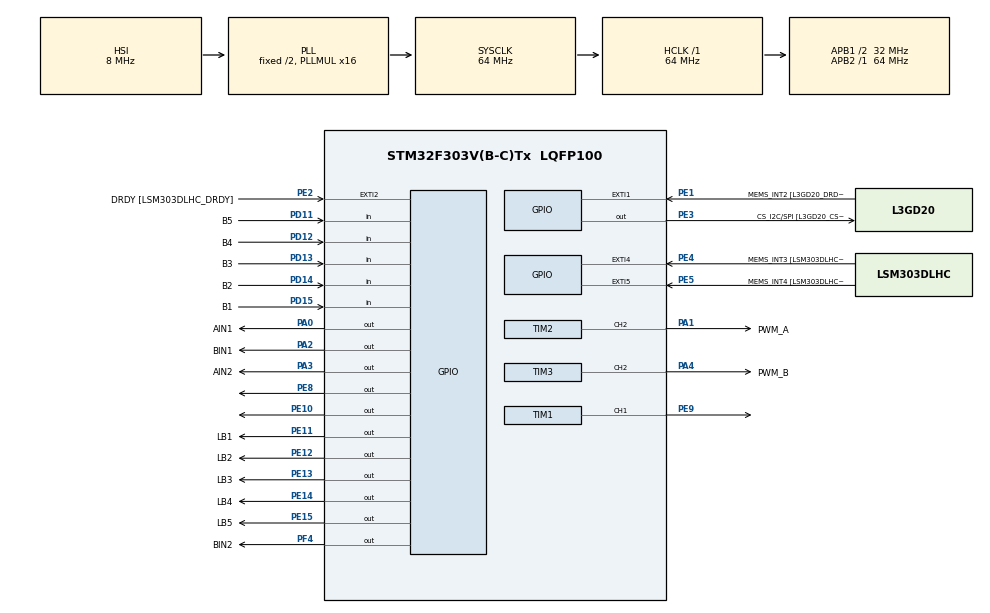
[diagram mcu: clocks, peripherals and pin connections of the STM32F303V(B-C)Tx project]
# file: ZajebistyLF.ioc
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Mcu.Family=STM32F3
Mcu.Name=STM32F303V(B-C)Tx
Mcu.Package=LQFP100
NVIC.PriorityGroup=NVIC_PRIORITYGROUP_0
PA0.GPIO_Label=AIN1
PA0.Signal=GPIO_Output
PA1.GPIO_Label=PWM_A
PA1.Signal=S_TIM2_CH2
PA11.GPIO_Label=DM
PA11.Signal=USB_DM
PA12.GPIO_Label=DP
PA12.Signal=USB_DP
PA13.GPIO_Label=SWDIO
PA13.Signal=SYS_JTMS-SWDIO
PA14.GPIO_Label=SWCLK
PA14.Signal=SYS_JTCK-SWCLK
PA2.GPIO_Label=BIN1
PA2.Signal=GPIO_Output
PA3.GPIO_Label=AIN2
PA3.Signal=GPIO_Output
PA4.GPIO_Label=PWM_B
PA4.Signal=S_TIM3_CH2
PA5.GPIO_Label=SPI1_SCK [L3GD20_SCL/SPC]
PA5.GPIO_Mode=GPIO_MODE_AF_PP
PA5.GPIO_PuPd=GPIO_NOPULL
PA5.GPIO_Speed=GPIO_SPEED_FREQ_LOW
PA5.Signal=SPI1_SCK
PA6.GPIO_Label=SPI1_MISO [L3GD20_SA0/SDO]
PA6.GPIO_Mode=GPIO_MODE_AF_PP
PA6.GPIO_PuPd=GPIO_NOPULL
PA6.GPIO_Speed=GPIO_SPEED_FREQ_LOW
PA6.Signal=SPI1_MISO
PA7.GPIO_Label=SPI1_MISO [L3GD20_SDA/SDI/SDO]
PA7.GPIO_Mode=GPIO_MODE_AF_PP
PA7.GPIO_PuPd=GPIO_NOPULL
PA7.GPIO_Speed=GPIO_SPEED_FREQ_LOW
PA7.Signal=SPI1_MOSI
PB3.GPIO_Label=SWO
PB3.Signal=SYS_JTDO-TRACESWO
PB6.GPIO_FM6=__NULL
PB6.GPIO_Label=I2C1_SCL [LSM303DLHC_SCL]
PB6.GPIO_Mode=GPIO_MODE_AF_OD
PB6.GPIO_PuPd=GPIO_NOPULL
PB6.GPIO_Speed=GPIO_SPEED_FREQ_LOW
PB6.Signal=I2C1_SCL
PB7.GPIO_FM7=__NULL
PB7.GPIO_Label=I2C1_SDA [LSM303DLHC_SDA]
PB7.GPIO_Mode=GPIO_MODE_AF_OD
PB7.GPIO_PuPd=GPIO_NOPULL
PB7.GPIO_Speed=GPIO_SPEED_FREQ_LOW
PB7.Signal=I2C1_SDA
PC14-OSC32_IN.GPIO_Label=OSC32_IN
PC14-OSC32_IN.Signal=RCC_OSC32_IN
PC15-OSC32_OUT.GPIO_Label=OSC32_OUT
PC15-OSC32_OUT.Signal=RCC_OSC32_OUT
PD11.GPIO_Label=B5
PD11.Signal=GPIO_Input
PD12.GPIO_Label=B4
PD12.Signal=GPIO_Input
PD13.GPIO_Label=B3
PD13.Signal=GPIO_Input
PD14.GPIO_Label=B2
PD14.Signal=GPIO_Input
PD15.GPIO_Label=B1
PD15.Signal=GPIO_Input
PE1.GPIO_Label=MEMS_INT2 [L3GD20_DRDY/INT2]
PE1.GPIO_ModeDefaultEXTI=GPIO_MODE_EVT_RISING
PE1.GPIO_PuPd=GPIO_NOPULL
PE1.Signal=GPXTI1
PE10.Signal=GPIO_Output
PE11.GPIO_Label=LB1
PE11.Signal=GPIO_Output
PE12.GPIO_Label=LB2
PE12.Signal=GPIO_Output
PE13.GPIO_Label=LB3
PE13.GPIO_ModeDefaultOutputPP=GPIO_MODE_OUTPUT_PP
PE13.GPIO_PuPd=GPIO_NOPULL
PE13.GPIO_Speed=GPIO_SPEED_FREQ_LOW
PE13.Signal=GPIO_Output
PE14.GPIO_Label=LB4
PE14.GPIO_ModeDefaultOutputPP=GPIO_MODE_OUTPUT_PP
PE14.GPIO_PuPd=GPIO_NOPULL
PE14.GPIO_Speed=GPIO_SPEED_FREQ_LOW
PE14.Signal=GPIO_Output
PE15.GPIO_Label=LB5
PE15.GPIO_ModeDefaultOutputPP=GPIO_MODE_OUTPUT_PP
PE15.GPIO_PuPd=GPIO_NOPULL
PE15.GPIO_Speed=GPIO_SPEED_FREQ_LOW
PE15.Signal=GPIO_Output
PE2.GPIO_Label=DRDY [LSM303DLHC_DRDY]
PE2.GPIO_ModeDefaultEXTI=GPIO_MODE_EVT_RISING
PE2.GPIO_PuPd=GPIO_NOPULL
PE2.Signal=GPXTI2
PE3.GPIO_Label=CS_I2C/SPI [L3GD20_CS_I2C/SPI]
PE3.GPIO_ModeDefaultOutputPP=GPIO_MODE_OUTPUT_PP
PE3.GPIO_PuPd=GPIO_NOPULL
PE3.GPIO_Speed=GPIO_SPEED_FREQ_LOW
PE3.Signal=GPIO_Output
PE4.GPIO_Label=MEMS_INT3 [LSM303DLHC_INT1]
PE4.GPIO_ModeDefaultEXTI=GPIO_MODE_EVT_RISING
PE4.GPIO_PuPd=GPIO_NOPULL
PE4.Signal=GPXTI4
PE5.GPIO_Label=MEMS_INT4 [LSM303DLHC_INT2]
PE5.GPIO_ModeDefaultEXTI=GPIO_MODE_EVT_RISING
PE5.GPIO_PuPd=GPIO_NOPULL
PE5.Signal=GPXTI5
PE8.Signal=GPIO_Output
PE9.Signal=S_TIM1_CH1
PF0-OSC_IN.GPIO_Label=OSC_IN
PF0-OSC_IN.Signal=RCC_OSC_IN
PF1-OSC_OUT.GPIO_Label=OSC_OUT
PF1-OSC_OUT.Signal=RCC_OSC_OUT
PF4.GPIO_Label=BIN2
PF4.Signal=GPIO_Output
ProjectManager.HeapSize=0x200
ProjectManager.StackSize=0x400
ProjectManager.TargetToolchain=SW4STM32
RCC.AHBFreq_Value=64000000
RCC.APB1CLKDivider=RCC_HCLK_DIV2
RCC.APB1Freq_Value=32000000
RCC.APB1TimFreq_Value=64000000
RCC.APB2Freq_Value=64000000
RCC.APB2TimFreq_Value=64000000
RCC.CortexFreq_Value=64000000
RCC.HCLKFreq_Value=64000000
RCC.HSE_VALUE=8000000
RCC.HSI_VALUE=8000000
RCC.LSE_VALUE=32768
RCC.PLLMUL=RCC_PLL_MUL16
RCC.SYSCLKFreq_VALUE=64000000
RCC.SYSCLKSourceVirtual=RCC_SYSCLKSOURCE_PLLCLK
RCC.USBFreq_Value=64000000
SH.S_TIM1_CH1.0=TIM1_CH1,PWM Generation1 CH1
SH.S_TIM2_CH2.0=TIM2_CH2,PWM Generation2 CH2
SH.S_TIM3_CH2.0=TIM3_CH2,PWM Generation2 CH2
TIM1.Channel-PWM\ Generation1\ CH1=TIM_CHANNEL_1
TIM1.Period=99
TIM1.Prescaler=3199
TIM2.Channel-PWM\ Generation2\ CH2=TIM_CHANNEL_2
TIM2.Period=99
TIM2.Prescaler=3199
TIM3.Channel-PWM\ Generation2\ CH2=TIM_CHANNEL_2
TIM3.Period=99
TIM3.Prescaler=3199
board=STM32F3DISCOVERY

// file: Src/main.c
/* USER CODE BEGIN Header */
/**
  ******************************************************************************
  * @file           : main.c
  * @brief          : Main program body
  ******************************************************************************
  ** This notice applies to any and all portions of this file
  * that are not between comment pairs USER CODE BEGIN and
  * USER CODE END. Other portions of this file, whether
  * inserted by the user or by software development tools
  * are owned by their respective copyright owners.
  *
  * COPYRIGHT(c) 2019 STMicroelectronics
  *
  * Redistribution and use in source and binary forms, with or without modification,
  * are permitted provided that the following conditions are met:
  *   1. Redistributions of source code must retain the above copyright notice,
  *      this list of conditions and the following disclaimer.
  *   2. Redistributions in binary form must reproduce the above copyright notice,
  *      this list of conditions and the following disclaimer in the documentation
  *      and/or other materials provided with the distribution.
  *   3. Neither the name of STMicroelectronics nor the names of its contributors
  *      may be used to endorse or promote products derived from this software
  *      without specific prior written permission.
  *
  * THIS SOFTWARE IS PROVIDED BY THE COPYRIGHT HOLDERS AND CONTRIBUTORS "AS IS"
  * AND ANY EXPRESS OR IMPLIED WARRANTIES, INCLUDING, BUT NOT LIMITED TO, THE
  * IMPLIED WARRANTIES OF MERCHANTABILITY AND FITNESS FOR A PARTICULAR PURPOSE ARE
  * DISCLAIMED. IN NO EVENT SHALL THE COPYRIGHT HOLDER OR CONTRIBUTORS BE LIABLE
  * FOR ANY DIRECT, INDIRECT, INCIDENTAL, SPECIAL, EXEMPLARY, OR CONSEQUENTIAL
  * DAMAGES (INCLUDING, BUT NOT LIMITED TO, PROCUREMENT OF SUBSTITUTE GOODS OR
  * SERVICES; LOSS OF USE, DATA, OR PROFITS; OR BUSINESS INTERRUPTION) HOWEVER
  * CAUSED AND ON ANY THEORY OF LIABILITY, WHETHER IN CONTRACT, STRICT LIABILITY,
  * OR TORT (INCLUDING NEGLIGENCE OR OTHERWISE) ARISING IN ANY WAY OUT OF THE USE
  * OF THIS SOFTWARE, EVEN IF ADVISED OF THE POSSIBILITY OF SUCH DAMAGE.
  *
  ******************************************************************************
  */
/* USER CODE END Header */

#include "main.h"

/* USER CODE BEGIN Includes */
float Kierunek;
float B1;
float Wariator;
float Dzielnik;
float CunterB;
float PWMP;
float PWML;
float Inwersja;
float BT;
float Ilosc_cykli;
float D;
float I;
float Przyspieszenie;

/* USER CODE END Includes */

TIM_HandleTypeDef htim1;
TIM_HandleTypeDef htim2;
TIM_HandleTypeDef htim3;

void SystemClock_Config(void);
static void MX_GPIO_Init(void);
static void MX_TIM3_Init(void);
static void MX_TIM2_Init(void);
static void MX_TIM1_Init(void);

int main(void)
{

  /* MCU Configuration--------------------------------------------------------*/

  /* Reset of all peripherals, Initializes the Flash interface and the Systick. */
  HAL_Init();

  /* Configure the system clock */
  SystemClock_Config();

  /* Initialize all configured peripherals */
  MX_GPIO_Init();
  MX_TIM3_Init();
  MX_TIM2_Init();
  MX_TIM1_Init();
  /* USER CODE BEGIN 2 */
  HAL_TIM_PWM_Start(&htim2, TIM_CHANNEL_2);
  HAL_TIM_PWM_Start(&htim3, TIM_CHANNEL_2);
  Wariator = 13.5;
  I = 3000;
  D = 18000;
  Dzielnik = 1.5;
  /* USER CODE END 2 */

  /* Infinite loop */
  /* USER CODE BEGIN WHILE */
  HAL_Delay(2000);
  while (1)
  {

	  if(BT==B1){
		  ++Ilosc_cykli;
	  }else if(B1 > 0){
		  Przyspieszenie = (B1-BT)*-D/Ilosc_cykli;
		  if(Przyspieszenie > 0){
			  Przyspieszenie = Przyspieszenie/3;
		  }
		  Ilosc_cykli = 0;
	  }else if(B1 < 0){
		  Przyspieszenie = (BT-B1)*D/Ilosc_cykli;
		  if(Przyspieszenie < 0){
			  Przyspieszenie = Przyspieszenie/3;
		  }
		  Ilosc_cykli = 0;
	  }
	  //Przyspieszenie = Ilosc_cykli/I;
	  BT = B1;
	  B1 = 0;
	  CunterB = 0;

	  /*if(HAL_GPIO_ReadPin(B1_GPIO_Port, B1_Pin) == GPIO_PIN_SET){
		  HAL_GPIO_WritePin(LB1_GPIO_Port, LB1_Pin, GPIO_PIN_SET);
		  B1 += Wariator * (Wariator/5);
		  ++CunterB;
	  }else{
		  HAL_GPIO_WritePin(LB1_GPIO_Port, LB1_Pin, GPIO_PIN_RESET);

	  }*/
	  if(HAL_GPIO_ReadPin(B5_GPIO_Port, B5_Pin) == GPIO_PIN_SET){
		  HAL_GPIO_WritePin(LB5_GPIO_Port, LB5_Pin, GPIO_PIN_SET);
		  B1 += -Wariator * (Wariator/5);
		  ++CunterB;
	  }else{
		  HAL_GPIO_WritePin(LB5_GPIO_Port, LB5_Pin, GPIO_PIN_RESET);

	  }if(HAL_GPIO_ReadPin(B2_GPIO_Port, B2_Pin) == GPIO_PIN_SET){
		  HAL_GPIO_WritePin(LB2_GPIO_Port, LB2_Pin, GPIO_PIN_SET);
		  B1 += Wariator;
		  ++CunterB;
	  }else{
		  HAL_GPIO_WritePin(LB2_GPIO_Port, LB2_Pin, GPIO_PIN_RESET);

	  }if(HAL_GPIO_ReadPin(B4_GPIO_Port, B4_Pin) == GPIO_PIN_SET){
		  HAL_GPIO_WritePin(LB4_GPIO_Port, LB4_Pin, GPIO_PIN_SET);
		  B1 += -Wariator;
		  ++CunterB;
	  }else{
		  HAL_GPIO_WritePin(LB4_GPIO_Port, LB4_Pin, GPIO_PIN_RESET);

	  }if(HAL_GPIO_ReadPin(B3_GPIO_Port, B3_Pin) == GPIO_PIN_SET){
		  HAL_GPIO_WritePin(LB3_GPIO_Port, LB3_Pin, GPIO_PIN_SET);
		  ++CunterB;
	  }else{
		  HAL_GPIO_WritePin(LB3_GPIO_Port, LB3_Pin, GPIO_PIN_RESET);
	  }
	  if (CunterB == 0){
		  if (BT < 0){
			  B1 += -Wariator * (Wariator/2);
			  HAL_GPIO_WritePin(GPIOE, GPIO_PIN_8, GPIO_PIN_SET);
			  ++CunterB;
		  }if (BT > 0){
			  B1 += Wariator * (Wariator/2);
			  HAL_GPIO_WritePin(GPIOE, GPIO_PIN_10, GPIO_PIN_SET);
			  ++CunterB;
		  }
	  }else{
		  HAL_GPIO_WritePin(GPIOE, GPIO_PIN_10, GPIO_PIN_RESET);
		  HAL_GPIO_WritePin(GPIOE, GPIO_PIN_8, GPIO_PIN_RESET);
	  }

	  Kierunek = 200 - B1/CunterB+Przyspieszenie;

	  if(Kierunek < 200){
		  if(Kierunek < 100){
			  if(Kierunek < 0){
				  PWML = 90;
				  PWMP = 100;
				  Inwersja = 1;
			  }else{
				  PWML = 100 - Kierunek;
				  PWMP = 100;
				  Inwersja = 1;
			  }
		  }else{
			  PWML = Kierunek - 100;
			  PWMP = 100;
			  Inwersja = 0;
		  }
	  }else if(Kierunek > 200){
		  if(Kierunek > 300){
			  if(Kierunek > 400){
				  PWMP = 19;
				  PWML = 100;
				  Inwersja = 2;
			  }else{
				  PWMP = Kierunek - 300;
				  PWML = 100;
				  Inwersja = 2;
			  }
		  }else{
			  PWMP = 300 - Kierunek;
			  PWML = 100;
			  Inwersja = 0;
		  }
	  }else if(Kierunek == 200){
		  PWMP = 100;
		  PWML = 100;
		  Inwersja = 0;
	  }
	  if(Inwersja == 0){
		  HAL_GPIO_WritePin(AIN1_GPIO_Port, AIN1_Pin, GPIO_PIN_RESET);
		  HAL_GPIO_WritePin(AIN2_GPIO_Port, AIN2_Pin, GPIO_PIN_SET);
		  HAL_GPIO_WritePin(BIN1_GPIO_Port, BIN1_Pin, GPIO_PIN_RESET);
		  HAL_GPIO_WritePin(BIN2_GPIO_Port, BIN2_Pin, GPIO_PIN_SET);
	  }else if(Inwersja == 2){
		  HAL_GPIO_WritePin(AIN1_GPIO_Port, AIN1_Pin, GPIO_PIN_SET);
		  HAL_GPIO_WritePin(AIN2_GPIO_Port, AIN2_Pin, GPIO_PIN_RESET);
		  HAL_GPIO_WritePin(BIN1_GPIO_Port, BIN1_Pin, GPIO_PIN_RESET);
		  HAL_GPIO_WritePin(BIN2_GPIO_Port, BIN2_Pin, GPIO_PIN_SET);
	  }else	if(Inwersja == 1){
		  HAL_GPIO_WritePin(AIN1_GPIO_Port, AIN1_Pin, GPIO_PIN_RESET);
		  HAL_GPIO_WritePin(AIN2_GPIO_Port, AIN2_Pin, GPIO_PIN_SET);
		  HAL_GPIO_WritePin(BIN1_GPIO_Port, BIN1_Pin, GPIO_PIN_SET);
		  HAL_GPIO_WritePin(BIN2_GPIO_Port, BIN2_Pin, GPIO_PIN_RESET);
	  }

	  TIM2->CCR2 = PWMP/Dzielnik;
	  TIM3->CCR2 = PWML/Dzielnik;
    /* USER CODE END WHILE */

  }
}

void SystemClock_Config(void)
{
  RCC_OscInitTypeDef RCC_OscInitStruct = {0};
  RCC_ClkInitTypeDef RCC_ClkInitStruct = {0};
  RCC_PeriphCLKInitTypeDef PeriphClkInit = {0};

  /**Initializes the CPU, AHB and APB busses clocks
  */
  RCC_OscInitStruct.OscillatorType = RCC_OSCILLATORTYPE_HSI;
  RCC_OscInitStruct.HSIState = RCC_HSI_ON;
  RCC_OscInitStruct.HSICalibrationValue = RCC_HSICALIBRATION_DEFAULT;
  RCC_OscInitStruct.PLL.PLLState = RCC_PLL_ON;
  RCC_OscInitStruct.PLL.PLLSource = RCC_PLLSOURCE_HSI;
  RCC_OscInitStruct.PLL.PLLMUL = RCC_PLL_MUL16;
  if (HAL_RCC_OscConfig(&RCC_OscInitStruct) != HAL_OK)
  {
    Error_Handler();
  }
  /**Initializes the CPU, AHB and APB busses clocks
  */
  RCC_ClkInitStruct.ClockType = RCC_CLOCKTYPE_HCLK|RCC_CLOCKTYPE_SYSCLK
                              |RCC_CLOCKTYPE_PCLK1|RCC_CLOCKTYPE_PCLK2;
  RCC_ClkInitStruct.SYSCLKSource = RCC_SYSCLKSOURCE_PLLCLK;
  RCC_ClkInitStruct.AHBCLKDivider = RCC_SYSCLK_DIV1;
  RCC_ClkInitStruct.APB1CLKDivider = RCC_HCLK_DIV2;
  RCC_ClkInitStruct.APB2CLKDivider = RCC_HCLK_DIV1;

  if (HAL_RCC_ClockConfig(&RCC_ClkInitStruct, FLASH_LATENCY_2) != HAL_OK)
  {
    Error_Handler();
  }
  PeriphClkInit.PeriphClockSelection = RCC_PERIPHCLK_TIM1;
  PeriphClkInit.Tim1ClockSelection = RCC_TIM1CLK_HCLK;
  if (HAL_RCCEx_PeriphCLKConfig(&PeriphClkInit) != HAL_OK)
  {
    Error_Handler();
  }
}

static void MX_TIM1_Init(void)
{

  TIM_MasterConfigTypeDef sMasterConfig = {0};
  TIM_OC_InitTypeDef sConfigOC = {0};
  TIM_BreakDeadTimeConfigTypeDef sBreakDeadTimeConfig = {0};

  htim1.Instance = TIM1;
  htim1.Init.Prescaler = 3199;
  htim1.Init.CounterMode = TIM_COUNTERMODE_UP;
  htim1.Init.Period = 99;
  htim1.Init.ClockDivision = TIM_CLOCKDIVISION_DIV1;
  htim1.Init.RepetitionCounter = 0;
  htim1.Init.AutoReloadPreload = TIM_AUTORELOAD_PRELOAD_DISABLE;
  if (HAL_TIM_PWM_Init(&htim1) != HAL_OK)
  {
    Error_Handler();
  }
  sMasterConfig.MasterOutputTrigger = TIM_TRGO_RESET;
  sMasterConfig.MasterOutputTrigger2 = TIM_TRGO2_RESET;
  sMasterConfig.MasterSlaveMode = TIM_MASTERSLAVEMODE_DISABLE;
  if (HAL_TIMEx_MasterConfigSynchronization(&htim1, &sMasterConfig) != HAL_OK)
  {
    Error_Handler();
  }
  sConfigOC.OCMode = TIM_OCMODE_PWM1;
  sConfigOC.Pulse = 0;
  sConfigOC.OCPolarity = TIM_OCPOLARITY_HIGH;
  sConfigOC.OCNPolarity = TIM_OCNPOLARITY_HIGH;
  sConfigOC.OCFastMode = TIM_OCFAST_DISABLE;
  sConfigOC.OCIdleState = TIM_OCIDLESTATE_RESET;
  sConfigOC.OCNIdleState = TIM_OCNIDLESTATE_RESET;
  if (HAL_TIM_PWM_ConfigChannel(&htim1, &sConfigOC, TIM_CHANNEL_1) != HAL_OK)
  {
    Error_Handler();
  }
  sBreakDeadTimeConfig.OffStateRunMode = TIM_OSSR_DISABLE;
  sBreakDeadTimeConfig.OffStateIDLEMode = TIM_OSSI_DISABLE;
  sBreakDeadTimeConfig.LockLevel = TIM_LOCKLEVEL_OFF;
  sBreakDeadTimeConfig.DeadTime = 0;
  sBreakDeadTimeConfig.BreakState = TIM_BREAK_DISABLE;
  sBreakDeadTimeConfig.BreakPolarity = TIM_BREAKPOLARITY_HIGH;
  sBreakDeadTimeConfig.BreakFilter = 0;
  sBreakDeadTimeConfig.Break2State = TIM_BREAK2_DISABLE;
  sBreakDeadTimeConfig.Break2Polarity = TIM_BREAK2POLARITY_HIGH;
  sBreakDeadTimeConfig.Break2Filter = 0;
  sBreakDeadTimeConfig.AutomaticOutput = TIM_AUTOMATICOUTPUT_DISABLE;
  if (HAL_TIMEx_ConfigBreakDeadTime(&htim1, &sBreakDeadTimeConfig) != HAL_OK)
  {
    Error_Handler();
  }
  HAL_TIM_MspPostInit(&htim1);

}

static void MX_TIM2_Init(void)
{

  TIM_MasterConfigTypeDef sMasterConfig = {0};
  TIM_OC_InitTypeDef sConfigOC = {0};

  htim2.Instance = TIM2;
  htim2.Init.Prescaler = 3199;
  htim2.Init.CounterMode = TIM_COUNTERMODE_UP;
  htim2.Init.Period = 99;
  htim2.Init.ClockDivision = TIM_CLOCKDIVISION_DIV1;
  htim2.Init.AutoReloadPreload = TIM_AUTORELOAD_PRELOAD_DISABLE;
  if (HAL_TIM_PWM_Init(&htim2) != HAL_OK)
  {
    Error_Handler();
  }
  sMasterConfig.MasterOutputTrigger = TIM_TRGO_RESET;
  sMasterConfig.MasterSlaveMode = TIM_MASTERSLAVEMODE_DISABLE;
  if (HAL_TIMEx_MasterConfigSynchronization(&htim2, &sMasterConfig) != HAL_OK)
  {
    Error_Handler();
  }
  sConfigOC.OCMode = TIM_OCMODE_PWM1;
  sConfigOC.Pulse = 0;
  sConfigOC.OCPolarity = TIM_OCPOLARITY_HIGH;
  sConfigOC.OCFastMode = TIM_OCFAST_DISABLE;
  if (HAL_TIM_PWM_ConfigChannel(&htim2, &sConfigOC, TIM_CHANNEL_2) != HAL_OK)
  {
    Error_Handler();
  }
  HAL_TIM_MspPostInit(&htim2);

}

static void MX_TIM3_Init(void)
{

  TIM_MasterConfigTypeDef sMasterConfig = {0};
  TIM_OC_InitTypeDef sConfigOC = {0};

  htim3.Instance = TIM3;
  htim3.Init.Prescaler = 3199;
  htim3.Init.CounterMode = TIM_COUNTERMODE_UP;
  htim3.Init.Period = 99;
  htim3.Init.ClockDivision = TIM_CLOCKDIVISION_DIV1;
  htim3.Init.AutoReloadPreload = TIM_AUTORELOAD_PRELOAD_DISABLE;
  if (HAL_TIM_PWM_Init(&htim3) != HAL_OK)
  {
    Error_Handler();
  }
  sMasterConfig.MasterOutputTrigger = TIM_TRGO_RESET;
  sMasterConfig.MasterSlaveMode = TIM_MASTERSLAVEMODE_DISABLE;
  if (HAL_TIMEx_MasterConfigSynchronization(&htim3, &sMasterConfig) != HAL_OK)
  {
    Error_Handler();
  }
  sConfigOC.OCMode = TIM_OCMODE_PWM1;
  sConfigOC.Pulse = 0;
  sConfigOC.OCPolarity = TIM_OCPOLARITY_HIGH;
  sConfigOC.OCFastMode = TIM_OCFAST_DISABLE;
  if (HAL_TIM_PWM_ConfigChannel(&htim3, &sConfigOC, TIM_CHANNEL_2) != HAL_OK)
  {
    Error_Handler();
  }
  HAL_TIM_MspPostInit(&htim3);

}

static void MX_GPIO_Init(void)
{
  GPIO_InitTypeDef GPIO_InitStruct = {0};

  /* GPIO Ports Clock Enable */
  __HAL_RCC_GPIOE_CLK_ENABLE();
  __HAL_RCC_GPIOC_CLK_ENABLE();
  __HAL_RCC_GPIOF_CLK_ENABLE();
  __HAL_RCC_GPIOA_CLK_ENABLE();
  __HAL_RCC_GPIOD_CLK_ENABLE();
  __HAL_RCC_GPIOB_CLK_ENABLE();

  /*Configure GPIO pin Output Level */
  HAL_GPIO_WritePin(GPIOE, CS_I2C_SPI_Pin|GPIO_PIN_8|GPIO_PIN_10|LB1_Pin
                          |LB2_Pin|LB3_Pin|LB4_Pin|LB5_Pin, GPIO_PIN_RESET);

  /*Configure GPIO pin Output Level */
  HAL_GPIO_WritePin(GPIOA, AIN1_Pin|BIN1_Pin|AIN2_Pin, GPIO_PIN_RESET);

  /*Configure GPIO pin Output Level */
  HAL_GPIO_WritePin(BIN2_GPIO_Port, BIN2_Pin, GPIO_PIN_RESET);

  /*Configure GPIO pins : DRDY_Pin MEMS_INT3_Pin MEMS_INT4_Pin MEMS_INT2_Pin */
  GPIO_InitStruct.Pin = DRDY_Pin|MEMS_INT3_Pin|MEMS_INT4_Pin|MEMS_INT2_Pin;
  GPIO_InitStruct.Mode = GPIO_MODE_EVT_RISING;
  GPIO_InitStruct.Pull = GPIO_NOPULL;
  HAL_GPIO_Init(GPIOE, &GPIO_InitStruct);

  /*Configure GPIO pins : CS_I2C_SPI_Pin PE8 PE10 LB1_Pin
                           LB2_Pin LB3_Pin LB4_Pin LB5_Pin */
  GPIO_InitStruct.Pin = CS_I2C_SPI_Pin|GPIO_PIN_8|GPIO_PIN_10|LB1_Pin
                          |LB2_Pin|LB3_Pin|LB4_Pin|LB5_Pin;
  GPIO_InitStruct.Mode = GPIO_MODE_OUTPUT_PP;
  GPIO_InitStruct.Pull = GPIO_NOPULL;
  GPIO_InitStruct.Speed = GPIO_SPEED_FREQ_LOW;
  HAL_GPIO_Init(GPIOE, &GPIO_InitStruct);

  /*Configure GPIO pins : AIN1_Pin BIN1_Pin AIN2_Pin */
  GPIO_InitStruct.Pin = AIN1_Pin|BIN1_Pin|AIN2_Pin;
  GPIO_InitStruct.Mode = GPIO_MODE_OUTPUT_PP;
  GPIO_InitStruct.Pull = GPIO_NOPULL;
  GPIO_InitStruct.Speed = GPIO_SPEED_FREQ_LOW;
  HAL_GPIO_Init(GPIOA, &GPIO_InitStruct);

  /*Configure GPIO pin : BIN2_Pin */
  GPIO_InitStruct.Pin = BIN2_Pin;
  GPIO_InitStruct.Mode = GPIO_MODE_OUTPUT_PP;
  GPIO_InitStruct.Pull = GPIO_NOPULL;
  GPIO_InitStruct.Speed = GPIO_SPEED_FREQ_LOW;
  HAL_GPIO_Init(BIN2_GPIO_Port, &GPIO_InitStruct);

  /*Configure GPIO pins : SPI1_SCK_Pin SPI1_MISO_Pin SPI1_MISOA7_Pin */
  GPIO_InitStruct.Pin = SPI1_SCK_Pin|SPI1_MISO_Pin|SPI1_MISOA7_Pin;
  GPIO_InitStruct.Mode = GPIO_MODE_AF_PP;
  GPIO_InitStruct.Pull = GPIO_NOPULL;
  GPIO_InitStruct.Speed = GPIO_SPEED_FREQ_LOW;
  GPIO_InitStruct.Alternate = GPIO_AF5_SPI1;
  HAL_GPIO_Init(GPIOA, &GPIO_InitStruct);

  /*Configure GPIO pins : B5_Pin B4_Pin B3_Pin B2_Pin
                           B1_Pin */
  GPIO_InitStruct.Pin = B5_Pin|B4_Pin|B3_Pin|B2_Pin
                          |B1_Pin;
  GPIO_InitStruct.Mode = GPIO_MODE_INPUT;
  GPIO_InitStruct.Pull = GPIO_NOPULL;
  HAL_GPIO_Init(GPIOD, &GPIO_InitStruct);

  /*Configure GPIO pins : DM_Pin DP_Pin */
  GPIO_InitStruct.Pin = DM_Pin|DP_Pin;
  GPIO_InitStruct.Mode = GPIO_MODE_AF_PP;
  GPIO_InitStruct.Pull = GPIO_NOPULL;
  GPIO_InitStruct.Speed = GPIO_SPEED_FREQ_HIGH;
  GPIO_InitStruct.Alternate = GPIO_AF14_USB;
  HAL_GPIO_Init(GPIOA, &GPIO_InitStruct);

  /*Configure GPIO pins : I2C1_SCL_Pin I2C1_SDA_Pin */
  GPIO_InitStruct.Pin = I2C1_SCL_Pin|I2C1_SDA_Pin;
  GPIO_InitStruct.Mode = GPIO_MODE_AF_OD;
  GPIO_InitStruct.Pull = GPIO_PULLUP;
  GPIO_InitStruct.Speed = GPIO_SPEED_FREQ_LOW;
  GPIO_InitStruct.Alternate = GPIO_AF4_I2C1;
  HAL_GPIO_Init(GPIOB, &GPIO_InitStruct);

}

void Error_Handler(void)
{
}

/************************ (C) COPYRIGHT STMicroelectronics *****END OF FILE****/
